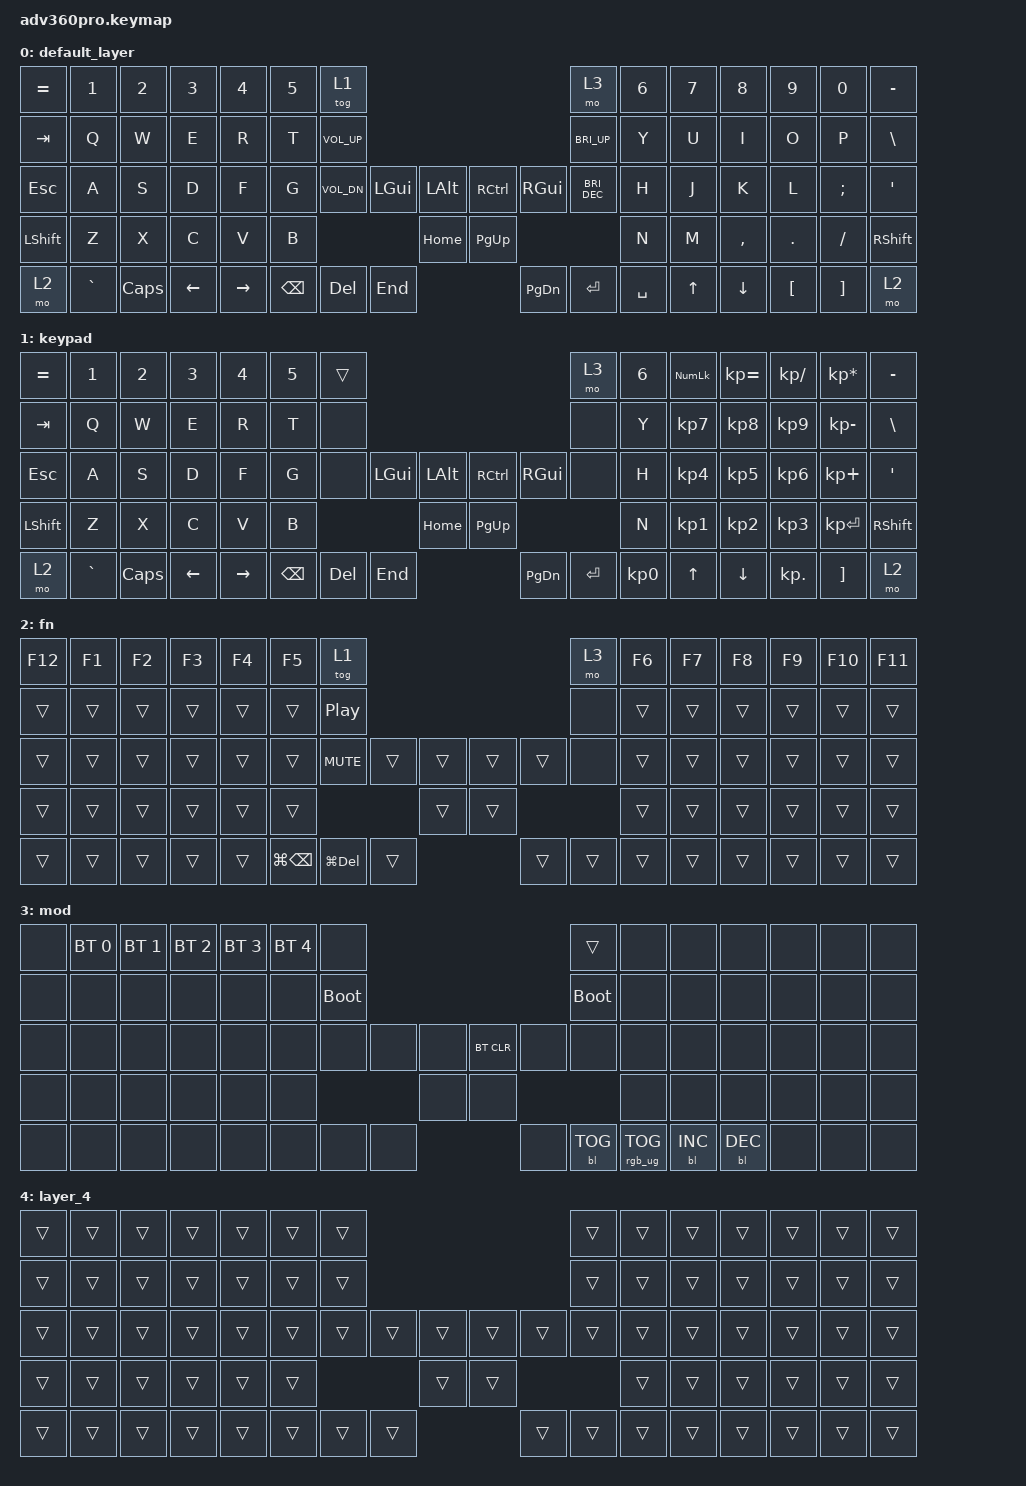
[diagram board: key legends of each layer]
#include <behaviors.dtsi>
#include <dt-bindings/zmk/backlight.h>
#include <dt-bindings/zmk/bt.h>
#include <dt-bindings/zmk/keys.h>
#include <dt-bindings/zmk/rgb.h>

/ {
    behaviors {
        backspace_word: backspace_word {
            compatible = "zmk,behavior-mod-morph";
            label = "BACKSPACE_WORD";
            bindings = <&kp BSPC>, <&kp LA(BSPC)>;

            //bindings = <&none>, <&none>;

            #binding-cells = <0>;
            mods = <(MOD_LSFT)>;
        };

        delete_word: delete_word {
            compatible = "zmk,behavior-mod-morph";
            label = "DELETE_WORD";
            bindings = <&kp DEL>, <&kp LA(DEL)>;
//bindings = <&none>, <&none>;-
            #binding-cells = <0>;
            mods = <(MOD_LSFT)>;
        };
    };

    keymap {
        compatible = "zmk,keymap";

        default_layer {
            bindings = <
&kp EQUAL  &kp N1     &kp N2    &kp N3    &kp N4     &kp N5  &tog 1                                                                                     &mo 3                 &kp N6  &kp N7  &kp N8     &kp N9    &kp N0    &kp MINUS
&kp TAB    &kp Q      &kp W     &kp E     &kp R      &kp T   &kp C_VOL_UP                                                                               &kp C_BRI_UP          &kp Y   &kp U   &kp I      &kp O     &kp P     &kp BSLH
&kp ESC    &kp A      &kp S     &kp D     &kp F      &kp G   &kp C_VOL_DN            &kp LEFT_GUI  &kp LALT    &kp RIGHT_CONTROL  &kp RGUI              &kp C_BRIGHTNESS_DEC  &kp H   &kp J   &kp K      &kp L     &kp SEMI  &kp SQT
&kp LSHFT  &kp Z      &kp X     &kp C     &kp V      &kp B                                         &kp HOME    &kp PG_UP                                                      &kp N   &kp M   &kp COMMA  &kp DOT   &kp FSLH  &kp RSHFT
&mo 2      &kp GRAVE  &kp CAPS  &kp LEFT  &kp RIGHT                        &kp BSPC  &kp DEL       &kp END     &kp PG_DN          &kp ENTER  &kp SPACE                                &kp UP  &kp DOWN   &kp LBKT  &kp RBKT  &mo 2
            >;
        };

        keypad {
            bindings = <
&kp EQUAL  &kp N1     &kp N2    &kp N3    &kp N4     &kp N5  &trans                                                                   &mo 3  &kp N6  &kp KP_NUM  &kp KP_EQUAL  &kp KP_DIVIDE  &kp KP_MULTIPLY  &kp MINUS
&kp TAB    &kp Q      &kp W     &kp E     &kp R      &kp T   &none                                                                    &none  &kp Y   &kp KP_N7   &kp KP_N8     &kp KP_N9      &kp KP_MINUS     &kp BSLH
&kp ESC    &kp A      &kp S     &kp D     &kp F      &kp G   &none             &kp LGUI  &kp LALT    &kp RCTRL  &kp RGUI              &none  &kp H   &kp KP_N4   &kp KP_N5     &kp KP_N6      &kp KP_PLUS      &kp SQT
&kp LSHFT  &kp Z      &kp X     &kp C     &kp V      &kp B                               &kp HOME    &kp PG_UP                               &kp N   &kp KP_N1   &kp KP_N2     &kp KP_N3      &kp KP_ENTER     &kp RSHFT
&mo 2      &kp GRAVE  &kp CAPS  &kp LEFT  &kp RIGHT                  &kp BSPC  &kp DEL   &kp END     &kp PG_DN  &kp ENTER  &kp KP_N0                 &kp UP      &kp DOWN      &kp KP_DOT     &kp RBKT         &mo 2
            >;
        };

        fn {
            bindings = <
&kp F12  &kp F1  &kp F2  &kp F3  &kp F4  &kp F5  &tog 1                                                                           &mo 3  &kp F6  &kp F7  &kp F8  &kp F9  &kp F10  &kp F11
&trans   &trans  &trans  &trans  &trans  &trans  &kp C_PP                                                                         &none  &trans  &trans  &trans  &trans  &trans   &trans
&trans   &trans  &trans  &trans  &trans  &trans  &kp K_MUTE                     &trans          &trans    &trans  &trans          &none  &trans  &trans  &trans  &trans  &trans   &trans
&trans   &trans  &trans  &trans  &trans  &trans                                                 &trans    &trans                         &trans  &trans  &trans  &trans  &trans   &trans
&trans   &trans  &trans  &trans  &trans                      &kp LG(BACKSPACE)  &kp LG(DELETE)  &trans    &trans  &trans  &trans                 &trans  &trans  &trans  &trans   &trans
            >;
        };

        mod {
            bindings = <
&none  &bt BT_SEL 0  &bt BT_SEL 1  &bt BT_SEL 2  &bt BT_SEL 3  &bt BT_SEL 4  &none                                                                        &trans       &none  &none       &none       &none  &none  &none
&none  &none         &none         &none         &none         &none         &bootloader                                                                  &bootloader  &none  &none       &none       &none  &none  &none
&none  &none         &none         &none         &none         &none         &none               &none  &none    &bt BT_CLR  &none                        &none        &none  &none       &none       &none  &none  &none
&none  &none         &none         &none         &none         &none                                    &none    &none                                                 &none  &none       &none       &none  &none  &none
&none  &none         &none         &none         &none                                    &none  &none  &none    &none       &bl BL_TOG  &rgb_ug RGB_TOG                      &bl BL_INC  &bl BL_DEC  &none  &none  &none
            >;
        };

        layer_4 {
            bindings = <
&trans  &trans  &trans  &trans  &trans  &trans  &trans                                                    &trans  &trans  &trans  &trans  &trans  &trans  &trans
&trans  &trans  &trans  &trans  &trans  &trans  &trans                                                    &trans  &trans  &trans  &trans  &trans  &trans  &trans
&trans  &trans  &trans  &trans  &trans  &trans  &trans          &trans  &trans    &trans  &trans          &trans  &trans  &trans  &trans  &trans  &trans  &trans
&trans  &trans  &trans  &trans  &trans  &trans                          &trans    &trans                          &trans  &trans  &trans  &trans  &trans  &trans
&trans  &trans  &trans  &trans  &trans                  &trans  &trans  &trans    &trans  &trans  &trans                  &trans  &trans  &trans  &trans  &trans
            >;
        };
    };
};
